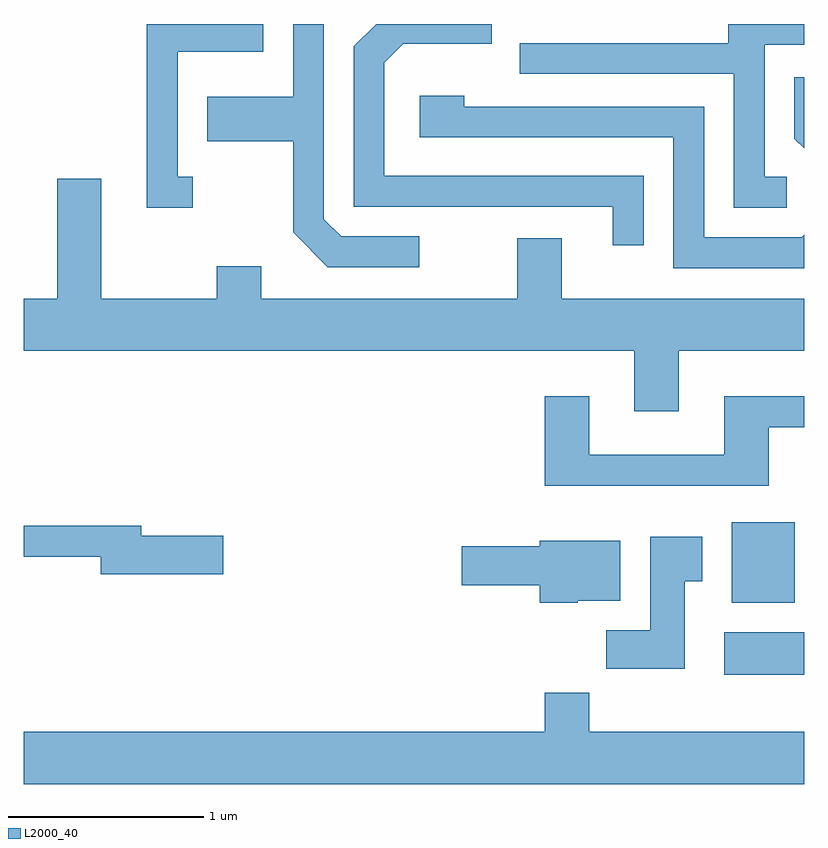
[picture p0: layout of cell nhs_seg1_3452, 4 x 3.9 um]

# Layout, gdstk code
import gdstk
lib = gdstk.Library(unit=1e-6, precision=1e-09)
def R(c, l, rs):  # rectangles x0, y0, x1, y1
    for r in rs: c.add(gdstk.rectangle(r[:2], r[2:], *l))
def P(c, l, *ps):  # polygons
    for p in ps: c.add(gdstk.Polygon(p, *l))
L2000_40 = (2000, 40)

nhs_seg1_3452 = lib.new_cell('nhs_seg1_3452')
R(nhs_seg1_3452, L2000_40, [(293.201,882.376,293.611,882.594), (293.241,882.746,293.564,883.159)])
P(nhs_seg1_3452, L2000_40, [(291.638,884.624),(291.237,884.624),(291.149,884.712),(291.149,885.712),(290.991,885.712),(290.991,885.339),(290.551,885.339),(290.551,885.111),(290.991,885.111),(290.991,884.644),(291.169,884.466),(291.638,884.466)],
  [(293.523,884.929),(293.409,884.929),(293.409,885.606),(293.611,885.606),(293.611,885.712),(293.221,885.712),(293.221,885.614),(292.153,885.614),(292.153,885.456),(293.251,885.456),(293.251,884.771),(293.523,884.771)],
  [(292.789,884.934),(291.459,884.934),(291.459,885.514),(291.557,885.611),(292.009,885.611),(292.009,885.712),(291.417,885.712),(291.301,885.597),(291.301,884.776),(292.631,884.776),(292.631,884.578),(292.789,884.578)],
  [(290.478,884.929),(290.399,884.929),(290.399,885.571),(290.839,885.571),(290.839,885.712),(290.241,885.712),(290.241,884.771),(290.478,884.771)],
  [(293.611,885.438),(293.561,885.438),(293.561,885.124),(293.611,885.074)],
  [(293.611,884.631),(293.599,884.619),(293.099,884.619),(293.099,885.289),(291.869,885.289),(291.869,885.344),(291.641,885.344),(291.641,885.131),(292.941,885.131),(292.941,884.461),(293.611,884.461)],
  [(292.969,884.036),(293.611,884.036),(293.611,884.304),(292.369,884.304),(292.369,884.614),(292.141,884.614),(292.141,884.304),(290.829,884.304),(290.829,884.469),(290.601,884.469),(290.601,884.304),(290.009,884.304),(290.009,884.919),(289.781,884.919),(289.781,884.304),(289.611,884.304),(289.611,884.036),(292.741,884.036),(292.741,883.726),(292.969,883.726)],
  [(293.429,883.646),(293.611,883.646),(293.611,883.804),(293.201,883.804),(293.201,883.504),(292.509,883.504),(292.509,883.804),(292.281,883.804),(292.281,883.346),(293.429,883.346)],
  [(290.634,883.089),(290.214,883.089),(290.214,883.139),(289.611,883.139),(289.611,882.981),(290.006,882.981),(290.006,882.891),(290.634,882.891)],
  [(292.999,882.856),(293.089,882.856),(293.089,883.084),(292.821,883.084),(292.821,882.604),(292.596,882.604),(292.596,882.406),(292.999,882.406)],
  [(292.45,882.756),(292.669,882.756),(292.669,883.064),(292.256,883.064),(292.256,883.034),(291.856,883.034),(291.856,882.836),(292.256,882.836),(292.256,882.746),(292.45,882.746)],
  [(293.611,882.084),(292.509,882.084),(292.509,882.284),(292.281,882.284),(292.281,882.084),(289.611,882.084),(289.611,881.816),(293.611,881.816)])

lib.write_gds('nhs_seg1_3452.gds')
